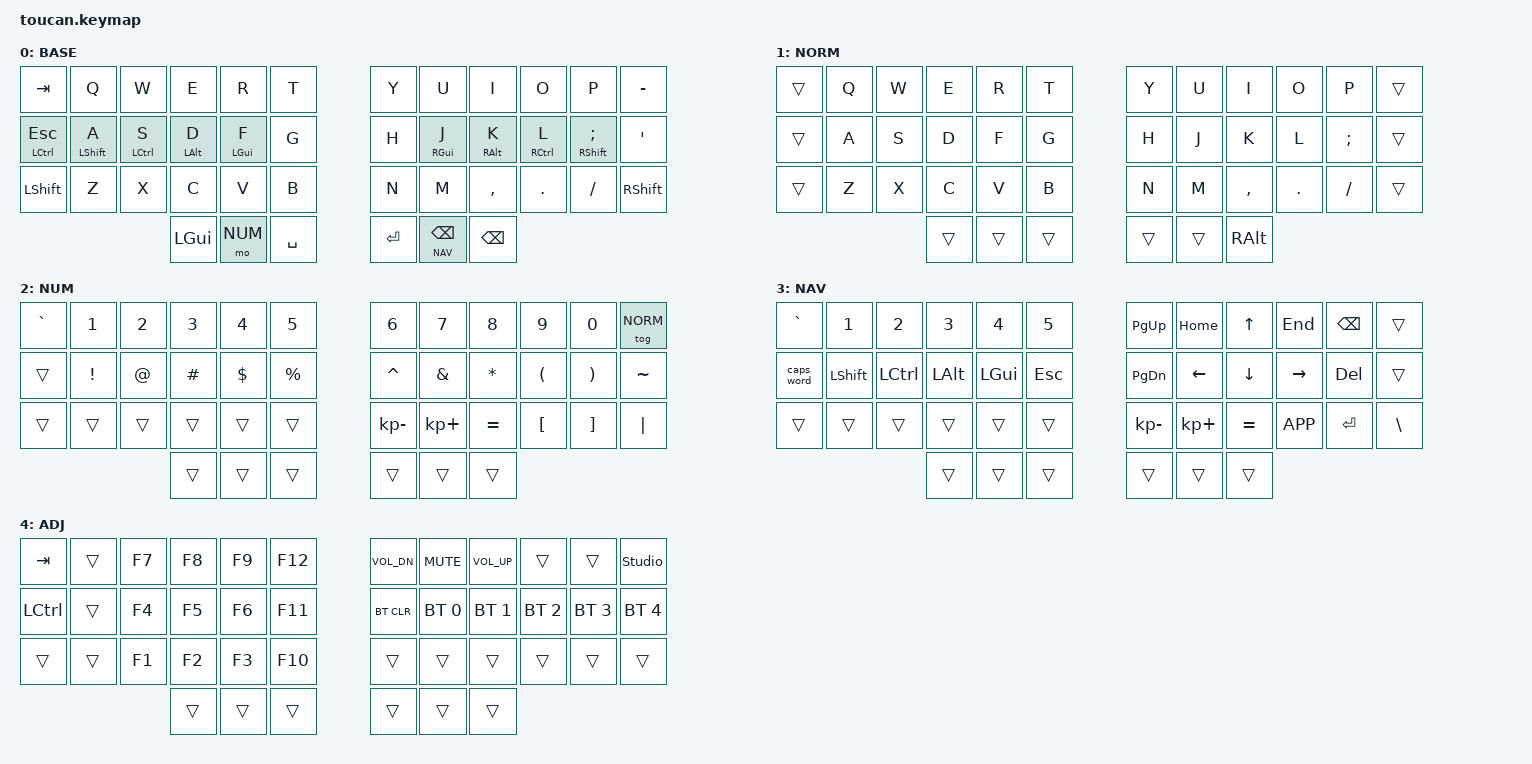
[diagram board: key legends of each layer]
#include <behaviors.dtsi>
#include <dt-bindings/zmk/keys.h>
#include <dt-bindings/zmk/bt.h>
#include <dt-bindings/zmk/outputs.h>

#define BASE 0
#define NORM 1
#define NUM  2
#define NAV  3
#define ADJ  4

/ {
    behaviors {
        hm: homerow_mods {
            compatible = "zmk,behavior-hold-tap";
            display-name = "Homerow Mod";
            #binding-cells = <2>;
            tapping-term-ms = <150>;
            quick-tap-ms = <0>;
            flavor = "tap-preferred";
            bindings = <&kp>, <&kp>;
        };
    };

    conditional_layers {
        compatible = "zmk,conditional-layers";
        tri_layer {
            if-layers = <NUM NAV>;
            then-layer = <ADJ>;
        };
    };

    keymap {
        compatible = "zmk,keymap";

        base {
            display-name = "BASE";
            bindings = <
                &kp TAB       &kp Q        &kp W       &kp E      &kp R      &kp T         &kp Y   &kp U        &kp I      &kp O       &kp P           &kp MINUS
                &mt LCTRL ESC &hm LSHIFT A &hm LCTRL S &hm LALT D &hm LGUI F &kp G         &kp H   &hm RGUI J   &hm RALT K &hm RCTRL L &hm RSHIFT SEMI &kp SQT
                &kp LSHFT     &kp Z        &kp X       &kp C      &kp V      &kp B         &kp N   &kp M        &kp COMMA  &kp DOT     &kp FSLH        &kp RSHFT
                                                       &kp LGUI   &mo NUM    &kp SPACE     &kp RET &lt NAV BSPC &kp BSPC
            >;
        };

        norm {
            display-name = "NORM";
            bindings = <
                &trans  &kp Q  &kp W  &kp E  &kp R  &kp T     &kp Y  &kp U  &kp I     &kp O   &kp P    &trans
                &trans  &kp A  &kp S  &kp D  &kp F  &kp G     &kp H  &kp J  &kp K     &kp L   &kp SEMI &trans
                &trans  &kp Z  &kp X  &kp C  &kp V  &kp B     &kp N  &kp M  &kp COMMA &kp DOT &kp FSLH &trans
                                      &trans &trans &trans    &trans &trans &kp RALT
            >;
        };

        num {
            display-name = "NUM";
            bindings = <
                &kp GRAVE &kp N1   &kp N2  &kp N3   &kp N4    &kp N5       &kp N6       &kp N7      &kp N8     &kp N9    &kp N0    &tog NORM
                &trans    &kp EXCL &kp AT  &kp HASH &kp DLLR  &kp PRCNT    &kp CARET    &kp AMPS    &kp STAR   &kp LPAR  &kp RPAR  &kp TILDE
                &trans    &trans   &trans  &trans   &trans    &trans       &kp KP_MINUS &kp KP_PLUS &kp EQUAL  &kp LBKT  &kp RBKT  &kp PIPE
                                           &trans   &trans    &trans       &trans       &trans      &trans
            >;
        };

        nav {
            display-name = "NAV";
            bindings = <
                &kp GRAVE  &kp N1    &kp N2    &kp N3   &kp N4   &kp N5     &kp PG_UP    &kp HOME    &kp UP    &kp END    &kp BSPC  &trans
                &caps_word &kp LSHFT &kp LCTRL &kp LALT &kp LGUI &kp ESC    &kp PG_DN    &kp LEFT    &kp DOWN  &kp RIGHT  &kp DEL   &trans
                &trans     &trans    &trans    &trans   &trans   &trans     &kp KP_MINUS &kp KP_PLUS &kp EQUAL &kp K_APP  &kp RET   &kp BSLH
                                               &trans   &trans   &trans     &trans       &trans      &trans
            >;
        };

        adj {
            display-name = "ADJ";
            bindings = <
                &kp TAB   &trans  &kp F7  &kp F8  &kp F9  &kp F12    &kp C_VOL_DN &kp C_MUTE   &kp C_VOL_UP  &trans       &trans       &studio_unlock
                &kp LCTRL &trans  &kp F4  &kp F5  &kp F6  &kp F11    &bt BT_CLR   &bt BT_SEL 0 &bt BT_SEL 1  &bt BT_SEL 2 &bt BT_SEL 3 &bt BT_SEL 4
                &trans    &trans  &kp F1  &kp F2  &kp F3  &kp F10    &trans       &trans       &trans        &trans       &trans       &trans
                                          &trans  &trans  &trans     &trans       &trans       &trans
            >;
        };

        extra_2 {
                status = "reserved";
        };

        extra_3 {
                status = "reserved";
        };
    };
};
